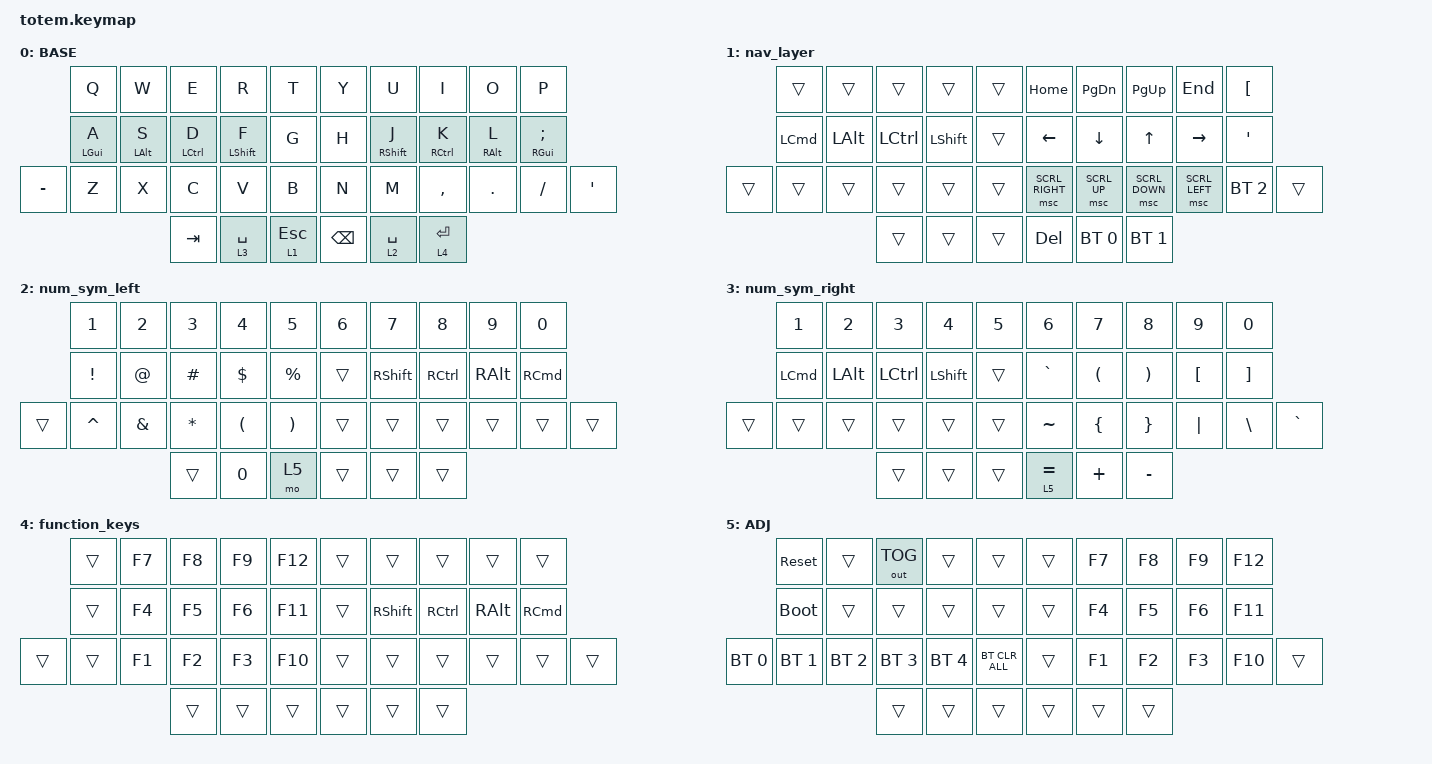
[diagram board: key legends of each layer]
//
//                                                        ▀▀▀▀▀     ▀▀▀▀▀          ▀▀█▀▀
//                                                        ▄▀▀▀▄  ▄  ▄▀▀▀▄  ▄  ▄▀▀▀▄  █  ▄▀▀▀▄
//                                                        █   █  █  █   █  █  █   █  █  █   █
//                                                         ▀▀▀   █   ▀▀▀   █   ▀▀▀   ▀   ▀▀▀
//                                                               █      ▄▄▄█▄▄▄    █   █  
//                                                               ▀      █  █  █     █▄█
//                                                             ▀▀▀▀▀    █  █  █      ▀
//                                                                      ▀  ▀  ▀
//
// ▄▄▄▄▄▄▄▄▄▄▄▄▄▄▄▄▄▄▄▄▄▄▄▄▄▄▄▄▄▄▄▄▄▄▄▄▄▄▄▄▄▄▄▄▄▄▄▄▄▄▄▄▄▄▄▄▄▄▄▄▄▄▄▄▄▄▄▄▄▄▄▄▄▄▄▄▄▄▄▄▄▄▄▄▄▄▄▄▄▄▄▄▄▄▄▄▄▄▄▄▄▄▄▄▄▄▄▄▄▄▄▄▄▄▄▄▄▄▄▄▄▄▄▄▄▄▄▄▄▄▄▄▄▄▄▄▄▄▄▄▄▄▄▄▄▄▄▄▄

#include <behaviors.dtsi>
#include <dt-bindings/zmk/bt.h>
#include <dt-bindings/zmk/keys.h>
#include <dt-bindings/zmk/outputs.h>
#include <dt-bindings/zmk/pointing.h>

#define BASE 0
#define NAV  1
#define SYM  2
#define ADJ  3

/ {
    behaviors {
        hm_l: homerow_mods_left {
            compatible = "zmk,behavior-hold-tap";
            #binding-cells = <2>;
            tapping-term-ms = <200>;
            quick-tap-ms = <175>;
            require-prior-idle-ms = <100>;       // Lowered from 150 to make Ctrl/Shift more responsive
            flavor = "balanced";
            bindings = <&kp>, <&kp>;

            hold-trigger-key-positions = <5 6 7 8 9 15 16 17 18 19 26 27 28 29 31 30 37 36 35>;
            hold-trigger-on-release;
        };

        hm_r: homerow_mods_right {
            compatible = "zmk,behavior-hold-tap";
            #binding-cells = <2>;
            tapping-term-ms = <200>;
            quick-tap-ms = <175>;
            require-prior-idle-ms = <100>;       // Lowered from 150
            flavor = "balanced";
            bindings = <&kp>, <&kp>;

            hold-trigger-key-positions = <0 1 2 3 4 10 11 12 13 14 20 21 22 23 24 25 32 33 34>;
            hold-trigger-on-release;
        };
    };

    combos { compatible = "zmk,combos"; };

    macros {
        gif: gif {
            label = "giphy";
            compatible = "zmk,behavior-macro";
            #binding-cells = <0>;
            bindings =
                <&macro_press>,
                <&kp LSHFT>,
                <&macro_tap>,
                <&kp N2>,
                <&macro_release>,
                <&kp LSHFT>,
                <&macro_tap>,
                <&kp G &kp I &kp F>;
        };
    };

    keymap {
        compatible = "zmk,keymap";

        // ▄▄▄▄▄▄▄▄▄▄▄▄▄▄▄▄▄▄▄▄▄▄▄▄▄▄▄▄▄▄▄▄▄▄▄▄▄▄▄▄▄▄▄▄▄▄▄▄▄▄▄▄▄▄▄▄▄▄▄▄▄▄▄▄▄▄▄▄▄▄▄▄▄▄▄▄▄▄▄▄▄▄▄▄▄▄▄▄▄▄▄▄▄▄▄▄▄▄▄▄▄▄▄▄▄▄▄▄▄▄▄▄▄▄▄▄▄▄▄▄▄▄▄▄▄▄▄▄▄▄▄▄▄▄▄▄▄▄▄▄▄▄▄▄▄▄▄▄▄

        base_layer {
            label = "BASE";
            bindings = <
           &kp Q         &kp W         &kp E          &kp R          &kp T           &kp Y          &kp U          &kp I          &kp O         &kp P
           &hm_l LGUI A  &hm_l LALT S  &hm_l LCTRL D  &hm_l LSHFT F  &kp G           &kp H          &hm_r RSHFT J  &hm_r RCTRL K  &hm_r RALT L  &hm_r RGUI SEMI
&kp MINUS  &kp Z         &kp X         &kp C          &kp V          &kp B           &kp N          &kp M          &kp COMMA      &kp DOT       &kp SLASH        &kp SINGLE_QUOTE
                                       &kp TAB        &lt 3 SPACE    &lt 1 ESCAPE    &kp BACKSPACE  &lt 2 SPACE    &lt 4 ENTER
            >;
        };

        nav_layer {
            bindings = <
        &trans            &trans        &trans     &trans          &trans    &kp HOME         &kp PAGE_DOWN   &kp PAGE_UP     &kp END          &kp LEFT_BRACKET
        &kp LEFT_COMMAND  &kp LEFT_ALT  &kp LCTRL  &kp LEFT_SHIFT  &trans    &kp LEFT_ARROW   &kp DOWN_ARROW  &kp UP_ARROW    &kp RIGHT_ARROW  &kp SQT
&trans  &trans            &trans        &trans     &trans          &trans    &msc SCRL_RIGHT  &msc SCRL_UP    &msc SCRL_DOWN  &msc SCRL_LEFT   &bt BT_SEL 2      &trans
                                        &trans     &trans          &trans    &kp DEL          &bt BT_SEL 0    &bt BT_SEL 1
            >;
        };

        num_sym_left {
            bindings = <
        &kp NUMBER_1     &kp NUMBER_2   &kp NUMBER_3  &kp NUMBER_4          &kp N5                   &kp NUMBER_6  &kp N7           &kp N8     &kp N9         &kp N0
        &kp EXCLAMATION  &kp AT_SIGN    &kp HASH      &kp DOLLAR            &kp PERCENT              &trans        &kp RIGHT_SHIFT  &kp RCTRL  &kp RIGHT_ALT  &kp RIGHT_COMMAND
&trans  &kp CARET        &kp AMPERSAND  &kp ASTERISK  &kp LEFT_PARENTHESIS  &kp RIGHT_PARENTHESIS    &trans        &trans           &trans     &trans         &trans             &trans
                                        &trans        &kp N0                &mo 5                    &trans        &trans           &trans
            >;
        };

        num_sym_right {
            bindings = <
        &kp NUMBER_1      &kp NUMBER_2  &kp NUMBER_3  &kp NUMBER_4    &kp N5    &kp NUMBER_6  &kp N7                &kp N8                 &kp N9            &kp N0
        &kp LEFT_COMMAND  &kp LEFT_ALT  &kp LCTRL     &kp LEFT_SHIFT  &trans    &kp GRAVE     &kp LEFT_PARENTHESIS  &kp RIGHT_PARENTHESIS  &kp LEFT_BRACKET  &kp RIGHT_BRACKET
&trans  &trans            &trans        &trans        &trans          &trans    &kp TILDE     &kp LEFT_BRACE        &kp RIGHT_BRACE        &kp PIPE          &kp BACKSLASH      &kp GRAVE
                                        &trans        &trans          &trans    &lt 5 EQUAL   &kp PLUS              &kp MINUS
            >;
        };

        function_keys {
            bindings = <
        &trans  &kp F7  &kp F8  &kp F9  &kp F12    &trans  &trans           &trans     &trans         &trans
        &trans  &kp F4  &kp F5  &kp F6  &kp F11    &trans  &kp RIGHT_SHIFT  &kp RCTRL  &kp RIGHT_ALT  &kp RIGHT_COMMAND
&trans  &trans  &kp F1  &kp F2  &kp F3  &kp F10    &trans  &trans           &trans     &trans         &trans             &trans
                        &trans  &trans  &trans     &trans  &trans           &trans
            >;
        };

        adjust_layer {
            // ┏━━━━━━━━━━━━━━━━━━━━━━━━━━━━━━━━━━━━━━━┓

            label = "ADJ";

            // ┗━━━━━━━━━━━━━━━━━━━━━━━━━━━━━━━━━━━━━━━┛
            //             ┏━━━━━━━━━━━┳━━━━━━━━━━━┳━━━━━━━━━━━┳━━━━━━━━━━━┳━━━━━━━━━━━┓   ┏━━━━━━━━━━━┳━━━━━━━━━━━┳━━━━━━━━━━━┳━━━━━━━━━━━┳━━━━━━━━━━━┓
            //             ┃   RESET   ┃ BT CLEAR  ┃  OUT TOG  ┃           ┃           ┃   ┃           ┃    F7     ┃    F8     ┃    F9     ┃    F12    ┃
            //             ┣━━━━━━━━━━━╋━━━━━━━━━━━╋━━━━━━━━━━━╋━━━━━━━━━━━╋━━━━━━━━━━━┫   ┣━━━━━━━━━━━╋━━━━━━━━━━━╋━━━━━━━━━━━╋━━━━━━━━━━━╋━━━━━━━━━━━┫
            //             ┃ BOOTLOAD  ┃ BT NEXT   ┃           ┃           ┃           ┃   ┃           ┃    F4     ┃    F5     ┃    F6     ┃    F11    ┃
            // ┏━━━━━━━━━━━╋━━━━━━━━━━━╋━━━━━━━━━━━╋━━━━━━━━━━━╋━━━━━━━━━━━╋━━━━━━━━━━━┫   ┣━━━━━━━━━━━╋━━━━━━━━━━━╋━━━━━━━━━━━╋━━━━━━━━━━━╋━━━━━━━━━━━╋━━━━━━━━━━━┓
            // ┃           ┃           ┃ BT PREV   ┃           ┃           ┃           ┃   ┃           ┃    F1     ┃    F2     ┃    F3     ┃    F10    ┃           ┃
            // ┗━━━━━━━━━━━┻━━━━━━━━━━━┻━━━━━━━━━━━╋━━━━━━━━━━━╋━━━━━━━━━━━╋━━━━━━━━━━━┫   ┣━━━━━━━━━━━╋━━━━━━━━━━━╋━━━━━━━━━━━╋━━━━━━━━━━━┻━━━━━━━━━━━┻━━━━━━━━━━━┛
            //                                     ┃           ┃           ┃           ┃   ┃           ┃           ┃           ┃
            //                                     ┗━━━━━━━━━━━┻━━━━━━━━━━━┻━━━━━━━━━━━┛   ┗━━━━━━━━━━━┻━━━━━━━━━━━┻━━━━━━━━━━━┛

            bindings = <
              &sys_reset    &trans        &out OUT_TOG  &trans        &trans            &trans  &kp F7  &kp F8  &kp F9  &kp F12
              &bootloader   &trans        &trans        &trans        &trans            &trans  &kp F4  &kp F5  &kp F6  &kp F11
&bt BT_SEL 0  &bt BT_SEL 1  &bt BT_SEL 2  &bt BT_SEL 3  &bt BT_SEL 4  &bt BT_CLR_ALL    &trans  &kp F1  &kp F2  &kp F3  &kp F10  &trans
                                          &trans        &trans        &trans            &trans  &trans  &trans
            >;
        };
    };
};
